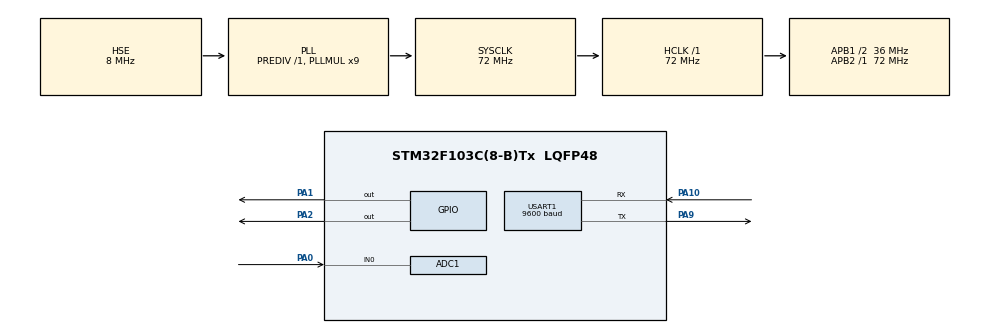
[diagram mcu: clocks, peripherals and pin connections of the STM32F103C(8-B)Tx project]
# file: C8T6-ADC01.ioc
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ADC1.Channel-0\#ChannelRegularConversion=ADC_CHANNEL_0
ADC1.NbrOfConversionFlag=1
ADC1.Rank-0\#ChannelRegularConversion=1
ADC1.SamplingTime-0\#ChannelRegularConversion=ADC_SAMPLETIME_1CYCLE_5
ADC1.master=1
Mcu.Family=STM32F1
Mcu.Name=STM32F103C(8-B)Tx
Mcu.Package=LQFP48
NVIC.ADC1_2_IRQn=true\:0\:0\:false\:false\:true\:true\:true\:true
NVIC.PriorityGroup=NVIC_PRIORITYGROUP_4
PA0-WKUP.Signal=ADCx_IN0
PA1.Signal=GPIO_Output
PA10.Mode=Asynchronous
PA10.Signal=USART1_RX
PA13.Mode=Serial_Wire
PA13.Signal=SYS_JTMS-SWDIO
PA14.Mode=Serial_Wire
PA14.Signal=SYS_JTCK-SWCLK
PA2.Signal=GPIO_Output
PA9.Mode=Asynchronous
PA9.Signal=USART1_TX
PC14-OSC32_IN.Mode=LSE-External-Oscillator
PC14-OSC32_IN.Signal=RCC_OSC32_IN
PC15-OSC32_OUT.Mode=LSE-External-Oscillator
PC15-OSC32_OUT.Signal=RCC_OSC32_OUT
PD0-OSC_IN.Mode=HSE-External-Oscillator
PD0-OSC_IN.Signal=RCC_OSC_IN
PD1-OSC_OUT.Mode=HSE-External-Oscillator
PD1-OSC_OUT.Signal=RCC_OSC_OUT
ProjectManager.HeapSize=0x200
ProjectManager.StackSize=0x400
ProjectManager.TargetToolchain=MDK-ARM V5
RCC.ADCPresc=RCC_ADCPCLK2_DIV6
RCC.AHBFreq_Value=72000000
RCC.APB1CLKDivider=RCC_HCLK_DIV2
RCC.APB1Freq_Value=36000000
RCC.APB1TimFreq_Value=72000000
RCC.APB2Freq_Value=72000000
RCC.APB2TimFreq_Value=72000000
RCC.HCLKFreq_Value=72000000
RCC.PLLMUL=RCC_PLL_MUL9
RCC.PLLSourceVirtual=RCC_PLLSOURCE_HSE
RCC.SYSCLKFreq_VALUE=72000000
RCC.SYSCLKSource=RCC_SYSCLKSOURCE_PLLCLK
RCC.USBFreq_Value=72000000
SH.ADCx_IN0.0=ADC1_IN0,IN0
USART1.BaudRate=9600
USART1.VirtualMode=VM_ASYNC
board=custom

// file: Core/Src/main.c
/* USER CODE BEGIN Header */
/**
  ******************************************************************************
  * @file           : main.c
  * @brief          : Main program body
  ******************************************************************************
  * @attention
  *
  * Copyright (c) 2026 STMicroelectronics.
  * All rights reserved.
  *
  * This software is licensed under terms that can be found in the LICENSE file
  * in the root directory of this software component.
  * If no LICENSE file comes with this software, it is provided AS-IS.
  *
  ******************************************************************************
  */
/* USER CODE END Header */
#include "main.h"
#include "adc.h"
#include "usart.h"
#include "gpio.h"

void SystemClock_Config(void);

/* USER CODE BEGIN 0 */

#include "stdio.h"

#define LED1_ON()         HAL_GPIO_WritePin(GPIOA, GPIO_PIN_1, GPIO_PIN_RESET)
#define LED1_OFF()        HAL_GPIO_WritePin(GPIOA, GPIO_PIN_1, GPIO_PIN_SET)

uint16_t ADC_Value = 0, ADC_Volt = 0;
uint8_t str_buff[64];

void UR1_Send_Info()
{
    sprintf((char*)str_buff, "采样值： %d, 电压值：%d.%d%dV\r\n", ADC_Value, ADC_Volt/100, (ADC_Volt%100)/10, ADC_Volt%10);
    HAL_UART_Transmit(&huart1, str_buff, sizeof(str_buff), 10000);
}

void ADC_Get_Value()
{
    HAL_ADC_Start(&hadc1);
    LED1_ON();
    if(HAL_ADC_PollForConversion(&hadc1, 10) == HAL_OK)
    {
        ADC_Value = HAL_ADC_GetValue(&hadc1);
        ADC_Volt = ADC_Value * 330 / 4096;
    }
    UR1_Send_Info();
    LED1_OFF();
    HAL_ADC_Stop(&hadc1);
}

/* USER CODE END 0 */

int main(void)
{

  /* MCU Configuration--------------------------------------------------------*/

  /* Reset of all peripherals, Initializes the Flash interface and the Systick. */
  HAL_Init();

  /* Configure the system clock */
  SystemClock_Config();

  /* Initialize all configured peripherals */
  MX_GPIO_Init();
  MX_ADC1_Init();
  MX_USART1_UART_Init();

  /* Infinite loop */
  /* USER CODE BEGIN WHILE */
  while (1)
  {
    ADC_Get_Value();
    HAL_Delay(500);
    /* USER CODE END WHILE */

  }
}

void SystemClock_Config(void)
{
  RCC_OscInitTypeDef RCC_OscInitStruct = {0};
  RCC_ClkInitTypeDef RCC_ClkInitStruct = {0};
  RCC_PeriphCLKInitTypeDef PeriphClkInit = {0};

  /** Initializes the RCC Oscillators according to the specified parameters
  * in the RCC_OscInitTypeDef structure.
  */
  RCC_OscInitStruct.OscillatorType = RCC_OSCILLATORTYPE_HSE;
  RCC_OscInitStruct.HSEState = RCC_HSE_ON;
  RCC_OscInitStruct.HSEPredivValue = RCC_HSE_PREDIV_DIV1;
  RCC_OscInitStruct.HSIState = RCC_HSI_ON;
  RCC_OscInitStruct.PLL.PLLState = RCC_PLL_ON;
  RCC_OscInitStruct.PLL.PLLSource = RCC_PLLSOURCE_HSE;
  RCC_OscInitStruct.PLL.PLLMUL = RCC_PLL_MUL9;
  if (HAL_RCC_OscConfig(&RCC_OscInitStruct) != HAL_OK)
  {
    Error_Handler();
  }

  /** Initializes the CPU, AHB and APB buses clocks
  */
  RCC_ClkInitStruct.ClockType = RCC_CLOCKTYPE_HCLK|RCC_CLOCKTYPE_SYSCLK
                              |RCC_CLOCKTYPE_PCLK1|RCC_CLOCKTYPE_PCLK2;
  RCC_ClkInitStruct.SYSCLKSource = RCC_SYSCLKSOURCE_PLLCLK;
  RCC_ClkInitStruct.AHBCLKDivider = RCC_SYSCLK_DIV1;
  RCC_ClkInitStruct.APB1CLKDivider = RCC_HCLK_DIV2;
  RCC_ClkInitStruct.APB2CLKDivider = RCC_HCLK_DIV1;

  if (HAL_RCC_ClockConfig(&RCC_ClkInitStruct, FLASH_LATENCY_2) != HAL_OK)
  {
    Error_Handler();
  }
  PeriphClkInit.PeriphClockSelection = RCC_PERIPHCLK_ADC;
  PeriphClkInit.AdcClockSelection = RCC_ADCPCLK2_DIV6;
  if (HAL_RCCEx_PeriphCLKConfig(&PeriphClkInit) != HAL_OK)
  {
    Error_Handler();
  }
}

void Error_Handler(void)
{
  __disable_irq();
  while (1)
  {
  }
}
